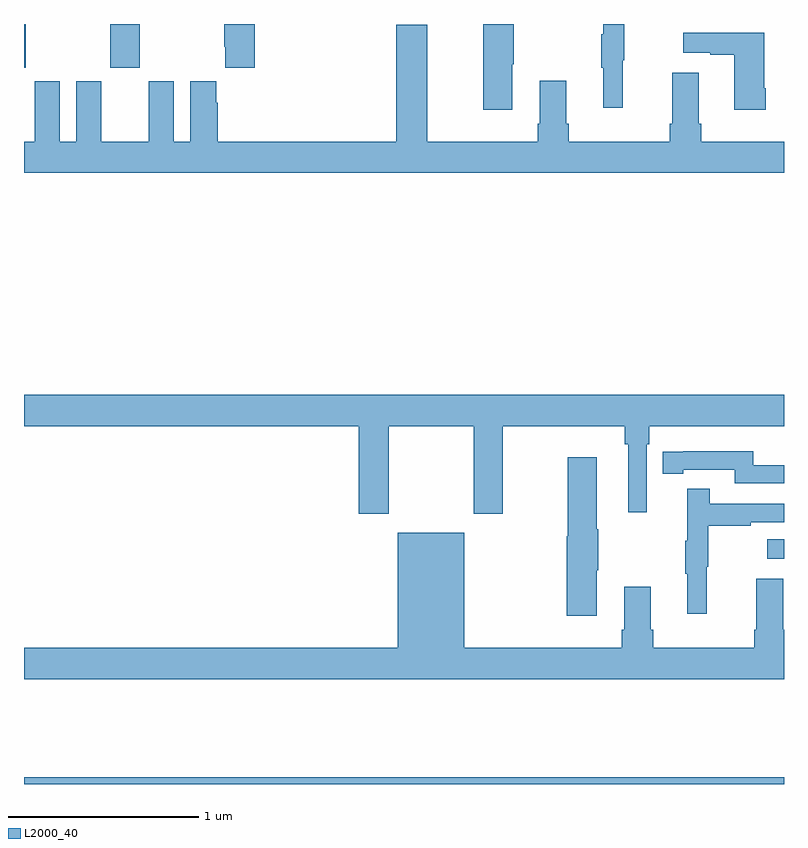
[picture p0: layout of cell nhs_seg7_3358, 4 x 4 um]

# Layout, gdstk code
import gdstk
lib = gdstk.Library(unit=1e-6, precision=1e-09)
def R(c, l, rs):  # rectangles x0, y0, x1, y1
    for r in rs: c.add(gdstk.rectangle(r[:2], r[2:], *l))
def P(c, l, *ps):  # polygons
    for p in ps: c.add(gdstk.Polygon(p, *l))
L2000_40 = (2000, 40)

nhs_seg7_3358 = lib.new_cell('nhs_seg7_3358')
R(nhs_seg7_3358, L2000_40, [(323,1064,327,1064.036), (326.913,1065.185,327,1065.289), (323,1067.769,323.01,1068), (323.455,1067.769,323.61,1068)])
P(nhs_seg7_3358, L2000_40, [(326.15,1067.808),(326.158,1067.808),(326.158,1068),(326.048,1068),(326.048,1067.945),(326.037,1067.945),(326.037,1067.771),(326.048,1067.771),(326.048,1067.559),(326.15,1067.559)],
  [(325.57,1067.788),(325.578,1067.788),(325.578,1068),(325.424,1068),(325.424,1067.999),(325.417,1067.999),(325.417,1067.55),(325.57,1067.55)],
  [(324.215,1068),(324.055,1068),(324.055,1067.881),(324.059,1067.881),(324.059,1067.769),(324.215,1067.769)],
  [(327,1067.38),(326.564,1067.38),(326.564,1067.476),(326.551,1067.476),(326.551,1067.743),(326.411,1067.743),(326.411,1067.476),(326.399,1067.476),(326.399,1067.38),(325.868,1067.38),(325.868,1067.476),(325.855,1067.476),(325.855,1067.701),(325.715,1067.701),(325.715,1067.476),(325.703,1067.476),(325.703,1067.38),(325.123,1067.38),(325.123,1067.995),(324.959,1067.995),(324.959,1067.38),(324.02,1067.38),(324.02,1067.585),(324.013,1067.585),(324.013,1067.698),(323.876,1067.698),(323.876,1067.38),(323.788,1067.38),(323.788,1067.698),(323.657,1067.698),(323.657,1067.38),(323.407,1067.38),(323.407,1067.698),(323.276,1067.698),(323.276,1067.38),(323.188,1067.38),(323.188,1067.698),(323.057,1067.698),(323.057,1067.38),(323,1067.38),(323,1067.216),(327,1067.216)],
  [(326.904,1067.662),(326.896,1067.662),(326.896,1067.953),(326.469,1067.953),(326.469,1067.849),(326.612,1067.849),(326.612,1067.839),(326.738,1067.839),(326.738,1067.55),(326.904,1067.55)],
  [(324.921,1065.884),(325.366,1065.884),(325.366,1065.423),(325.521,1065.423),(325.521,1065.884),(326.161,1065.884),(326.161,1065.788),(326.18,1065.788),(326.18,1065.429),(326.277,1065.429),(326.277,1065.788),(326.291,1065.788),(326.291,1065.884),(327,1065.884),(327,1066.048),(323,1066.048),(323,1065.884),(324.761,1065.884),(324.761,1065.423),(324.921,1065.423)],
  [(327,1065.678),(326.838,1065.678),(326.838,1065.751),(326.47,1065.751),(326.47,1065.75),(326.362,1065.75),(326.362,1065.634),(326.47,1065.634),(326.47,1065.654),(326.742,1065.654),(326.742,1065.582),(327,1065.582)],
  [(326.014,1065.124),(326.022,1065.124),(326.022,1065.341),(326.014,1065.341),(326.014,1065.721),(325.861,1065.721),(325.861,1065.303),(325.856,1065.303),(325.856,1064.886),(326.014,1064.886)],
  [(326.594,1065.144),(326.602,1065.144),(326.602,1065.358),(326.825,1065.358),(326.825,1065.378),(327,1065.378),(327,1065.474),(326.609,1065.474),(326.609,1065.553),(326.492,1065.553),(326.492,1065.281),(326.481,1065.281),(326.481,1065.107),(326.492,1065.107),(326.492,1064.895),(326.594,1064.895)],
  [(327,1064.812),(326.995,1064.812),(326.995,1065.079),(326.855,1065.079),(326.855,1064.812),(326.843,1064.812),(326.843,1064.716),(326.312,1064.716),(326.312,1064.812),(326.299,1064.812),(326.299,1065.037),(326.159,1065.037),(326.159,1064.812),(326.147,1064.812),(326.147,1064.716),(325.318,1064.716),(325.318,1065.322),(324.968,1065.322),(324.968,1064.716),(323,1064.716),(323,1064.552),(327,1064.552)])

lib.write_gds('nhs_seg7_3358.gds')
